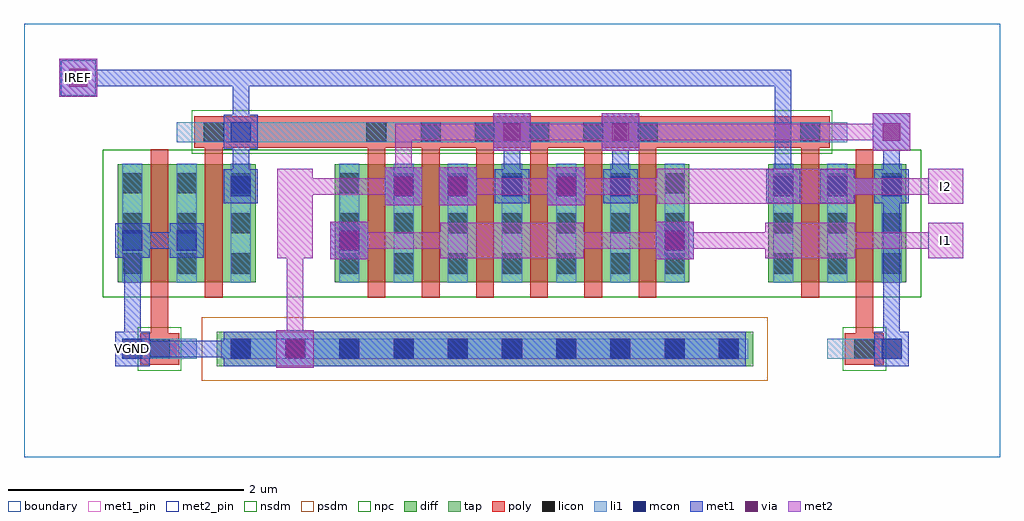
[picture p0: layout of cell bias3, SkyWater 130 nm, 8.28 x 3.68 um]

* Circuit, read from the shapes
.subckt bias3 I1 I2 IREF VGND
XM1 VGND VGND VGND VGND sky130_fd_pr__nfet_01v8 w=1 l=0.15 m=2
XM2 IREF IREF VGND VGND sky130_fd_pr__nfet_01v8 w=1 l=0.15 m=2
XM3 VGND IREF I1 VGND sky130_fd_pr__nfet_01v8 w=1 l=0.15 m=2
XM4 I2 IREF VGND VGND sky130_fd_pr__nfet_01v8 w=1 l=0.15 m=4
.ends

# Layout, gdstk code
import gdstk
lib = gdstk.Library(unit=1e-6, precision=1e-09)
def R(c, l, rs):  # rectangles x0, y0, x1, y1
    for r in rs: c.add(gdstk.rectangle(r[:2], r[2:], *l))
def A(c, l, x, y, w, h, nx, ny, dx, dy):  # array of equal rectangles
    R(c, l, [(x+i*dx, y+j*dy, x+i*dx+w, y+j*dy+h) for i in range(nx) for j in range(ny)])
diff = (65, 20)
tap = (65, 44)
poly = (66, 20)
licon = (66, 44)
li1 = (67, 20)
mcon = (67, 44)
met1_pin = (68, 16)
met1 = (68, 20)
via = (68, 44)
met2_pin = (69, 16)
met2 = (69, 20)
nsdm = (93, 44)
psdm = (94, 20)
npc = (95, 20)
boundary = (235, 4)

bias3 = lib.new_cell('bias3')
R(bias3, diff, [(0.795,1.485,1.965,2.485), (2.635,1.485,5.645,2.485), (6.315,1.485,7.485,2.485)])
R(bias3, tap, [(1.635,0.775,6.185,1.065)])
A(bias3, poly, 2.915, 1.355, 0.15, 1.405, 6, 1, 0.46, 0)
R(bias3, poly, [(0.985,0.785,1.315,1.055), (6.965,0.785,7.295,1.055), (1.075,0.92,1.225,2.615), (7.055,0.92,7.205,2.615), (1.535,1.355,1.685,2.76), (6.595,1.355,6.745,2.76), (1.445,2.625,6.835,2.895)])
A(bias3, licon, 1.755, 0.835, 0.17, 0.17, 10, 1, 0.46, 0)
A(bias3, licon, 0.835, 1.56, 0.17, 0.17, 3, 3, 0.46, 0.34)
A(bias3, licon, 2.675, 1.56, 0.17, 0.17, 7, 3, 0.46, 0.34)
A(bias3, licon, 6.355, 1.56, 0.17, 0.17, 3, 3, 0.46, 0.34)
A(bias3, licon, 2.905, 2.675, 0.17, 0.17, 6, 1, 0.46, 0)
R(bias3, licon, [(1.065,0.835,1.235,1.005), (7.045,0.835,7.215,1.005), (1.525,2.675,1.695,2.845), (6.585,2.675,6.755,2.845)])
A(bias3, li1, 0.835, 1.48, 0.17, 1.01, 3, 1, 0.46, 0)
A(bias3, li1, 2.675, 1.48, 0.17, 1.01, 7, 1, 0.46, 0)
A(bias3, li1, 6.355, 1.48, 0.17, 1.01, 3, 1, 0.46, 0)
R(bias3, li1, [(0.835,0.835,1.465,1.005), (1.675,0.835,6.145,1.005), (6.815,0.835,7.445,1.005), (1.295,2.675,6.985,2.845)])
A(bias3, mcon, 1.755, 0.835, 0.17, 0.17, 10, 1, 0.46, 0)
A(bias3, mcon, 3.135, 2.215, 0.17, 0.17, 5, 1, 0.46, 0)
A(bias3, mcon, 6.355, 2.215, 0.17, 0.17, 3, 1, 0.46, 0)
R(bias3, mcon, [(0.835,0.835,1.005,1.005), (7.275,0.835,7.445,1.005), (0.835,1.755,1.005,1.925), (1.295,1.755,1.465,1.925), (2.675,1.755,2.845,1.925), (5.435,1.755,5.605,1.925), (1.755,2.215,1.925,2.385), (1.755,2.675,1.925,2.845)])
R(bias3, met1_pin, [(0.775,0.775,1.065,1.065)])
A(bias3, met1, 3.075, 2.155, 0.29, 0.29, 5, 1, 0.46, 0)
A(bias3, met1, 6.295, 2.155, 0.29, 0.29, 3, 1, 0.46, 0)
R(bias3, met1, [(2.14,0.76,2.46,1.08), (0.775,0.775,1.065,1.065), (1.695,0.775,6.125,1.065), (7.215,0.775,7.505,1.065), (0.85,0.85,0.99,1.91), (0.85,0.85,1.91,0.99), (1.77,0.85,2.37,0.99), (1.77,0.85,1.91,0.99), (7.29,0.85,7.43,2.37), (2.6,1.68,2.92,2), (5.36,1.68,5.68,2), (0.775,1.695,1.065,1.985), (1.235,1.695,1.525,1.985), (2.615,1.695,2.905,1.985), (5.375,1.695,5.665,1.985), (0.85,1.77,1.45,1.91), (3.06,2.14,3.38,2.46), (3.52,2.14,3.84,2.46), (4.44,2.14,4.76,2.46), (1.695,2.155,1.985,2.445), (1.77,2.23,1.91,2.83), (4.07,2.23,4.21,2.83), (4.99,2.23,5.13,2.83), (6.37,2.23,6.51,3.29), (6.83,2.23,7.43,2.37), (7.29,2.23,7.43,2.83), (3.98,2.6,4.3,2.92), (4.9,2.6,5.22,2.92), (7.2,2.6,7.52,2.92), (1.695,2.615,1.985,2.905), (1.77,2.69,1.91,3.29), (0.3,3.06,0.62,3.38), (0.39,3.15,1.91,3.29), (1.77,3.15,6.51,3.29)])
R(bias3, via, [(2.225,0.845,2.375,0.995), (2.685,1.765,2.835,1.915), (5.445,1.765,5.595,1.915), (3.145,2.225,3.295,2.375), (3.605,2.225,3.755,2.375), (4.525,2.225,4.675,2.375), (4.065,2.685,4.215,2.835), (4.985,2.685,5.135,2.835), (7.285,2.685,7.435,2.835), (0.385,3.145,0.535,3.295)])
R(bias3, met2_pin, [(7.67,1.69,7.97,1.99), (7.67,2.15,7.97,2.45), (0.31,3.07,0.61,3.37)])
R(bias3, met2, [(2.14,0.76,2.46,1.08), (2.23,0.85,2.37,1.91), (2.6,1.68,2.92,2), (5.36,1.68,5.68,2), (2.15,1.69,2.45,2.45), (3.53,1.69,4.75,1.99), (6.29,1.69,7.05,1.99), (7.67,1.69,7.97,1.99), (2.69,1.77,3.75,1.91), (4.53,1.77,5.59,1.91), (5.45,1.77,6.51,1.91), (6.83,1.77,7.89,1.91), (7.75,1.77,7.89,1.91), (3.06,2.14,3.38,2.46), (3.52,2.14,3.84,2.46), (4.44,2.14,4.76,2.46), (5.37,2.15,7.05,2.45), (7.67,2.15,7.97,2.45), (2.23,2.23,3.29,2.37), (3.15,2.23,3.29,2.83), (3.61,2.23,4.67,2.37), (4.53,2.23,5.59,2.37), (6.83,2.23,7.89,2.37), (7.75,2.23,7.89,2.37), (3.98,2.6,4.3,2.92), (4.9,2.6,5.22,2.92), (7.2,2.6,7.52,2.92), (3.15,2.69,4.21,2.83), (4.07,2.69,5.13,2.83), (4.99,2.69,7.43,2.83), (0.3,3.06,0.62,3.38), (0.31,3.07,0.61,3.37), (0.39,3.15,0.53,3.29)])
R(bias3, nsdm, [(0.67,1.36,7.61,2.61)])
R(bias3, psdm, [(1.51,0.65,6.31,1.19)])
R(bias3, npc, [(0.965,0.735,1.335,1.105), (6.945,0.735,7.315,1.105), (1.425,2.575,6.855,2.945)])
R(bias3, boundary, [(0,0,8.28,3.68)])
bias3.add(gdstk.Label('VGND', (0.92,0.92), layer=68, texttype=5))
bias3.add(gdstk.Label('IREF', (0.46,3.22), layer=69, texttype=5))
bias3.add(gdstk.Label('I1', (7.82,1.84), layer=69, texttype=5))
bias3.add(gdstk.Label('I2', (7.82,2.3), layer=69, texttype=5))
bias3.add(gdstk.Label('VGND', (0.92,0.92), layer=68, texttype=16))
bias3.add(gdstk.Label('IREF', (0.46,3.22), layer=69, texttype=16))
bias3.add(gdstk.Label('I1', (7.82,1.84), layer=69, texttype=16))
bias3.add(gdstk.Label('I2', (7.82,2.3), layer=69, texttype=16))

lib.write_gds('bias3.gds')
